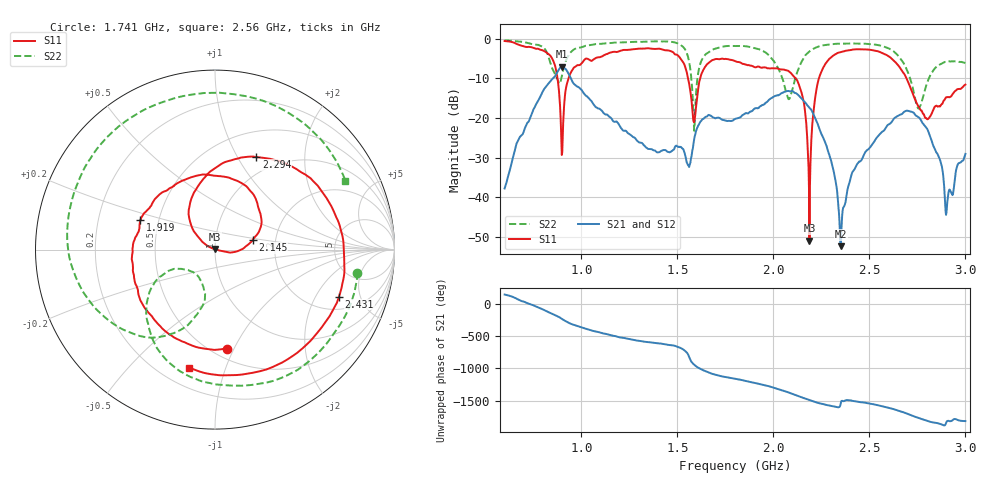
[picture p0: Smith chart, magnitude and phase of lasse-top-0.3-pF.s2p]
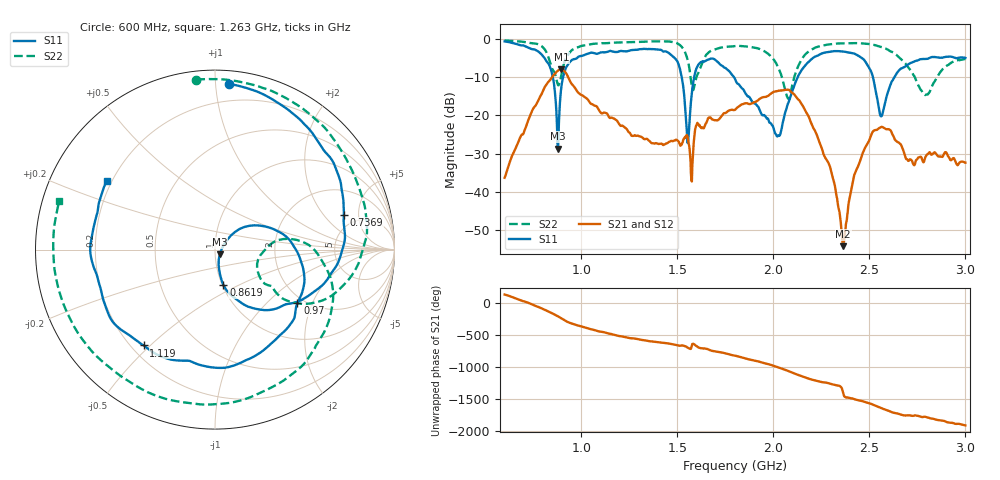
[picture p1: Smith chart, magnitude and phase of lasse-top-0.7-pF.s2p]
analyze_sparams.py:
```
from numpy import *
from matplotlib.pyplot import *
import aauplot

vnadir = "sparams/"
top = ["lasse-top-0.3-pF.s2p",
        "lasse-top-0.7-pF.s2p",
        "lasse-top-1.1-pF.s2p",
        "lasse-top-1.5-pF.s2p",
        "lasse-top-2.0-pF.s2p",
        "lasse-top-2.7-pF.s2p",
        "lasse-top-3.0-pF.s2p",
        ]

side = ["lasse-side-0.3-pF.s2p",
        "lasse-side-0.7-pF.s2p",
        "lasse-side-1.1-pF.s2p",
        "lasse-side-1.5-pF.s2p",
        "lasse-side-2.0-pF.s2p",
        "lasse-side-2.7-pF.s2p",
        "lasse-side-3.0-pF.s2p",
        ]

#S11
aauplot.figure()
for s in top:
    m = loadtxt(vnadir + s, skiprows=5).T
    f = m[0]
    S11 = m[1] + 1j*m[2]
    S21 = m[3] + 1j*m[4]
    S12 = m[5] + 1j*m[6]
    S22 = m[7] + 1j*m[8]

    aauplot.sparam(f, 20*log10(abs(S11)))

aauplot.end_sparam()
savefig("s11_csh1.pdf")

#S21
aauplot.figure()
for s in top:
    m = loadtxt(vnadir + s, skiprows=5).T
    f = m[0]
    S11 = m[1] + 1j*m[2]
    S21 = m[3] + 1j*m[4]
    S12 = m[5] + 1j*m[6]
    S22 = m[7] + 1j*m[8]

    aauplot.sparam(f, 20*log10(abs(S21)))

aauplot.end_sparam()
savefig("s21_csh1.pdf")

#S12
aauplot.figure()
for s in side:
    m = loadtxt(vnadir + s, skiprows=5).T
    f = m[0]
    S11 = m[1] + 1j*m[2]
    S21 = m[3] + 1j*m[4]
    S12 = m[5] + 1j*m[6]
    S22 = m[7] + 1j*m[8]

    aauplot.sparam(f, 20*log10(abs(S12)))

aauplot.end_sparam()
savefig("s12_csh1.pdf")

#S22
aauplot.figure()
for s in side:
    m = loadtxt(vnadir + s, skiprows=5).T
    f = m[0]
    S11 = m[1] + 1j*m[2]
    S21 = m[3] + 1j*m[4]
    S12 = m[5] + 1j*m[6]
    S22 = m[7] + 1j*m[8]

    aauplot.sparam(f, 20*log10(abs(S22)))

aauplot.end_sparam()
savefig("s22_csh2.pdf")
show()
```
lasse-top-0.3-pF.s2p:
#  HZ  S  RI  R  50.00
! Rohde & Schwarz ZVB8 2Ports - Version 2.81 - 1145.1010k08 SN: 100113
! Date: 2016-03-31 03:30:00
! Measurements: S11 S21 S12 S22
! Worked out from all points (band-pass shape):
!   1000 points, 600 MHz to 3 GHz, reference 50 ohm
!   highest |S21| = -7.00 dB at 900.3 MHz (marker M1); lowest = -52.4 dB at 2.351 GHz (marker M2)
!   |S21| within 3 dB of the highest: 851.3 MHz to 945.4 MHz (94.06 MHz wide, 10.5 % of centre)
!   lowest |S11| = -51.0 dB at 2.188 GHz (marker M3), VSWR 1.01, Z = 50 + j0.28 ohm
!   |S11| at or under -10 dB: 1.556 GHz to 1.618 GHz (62.66 MHz wide, 3.95 % of centre); 2.117 GHz to 2.237 GHz (120.2 MHz wide, 5.52 % of centre); 2.694 GHz to end of sweep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
!   |S22| runs from -23.2 to -0.4 dB; largest |S21 - S12| = 0.0018
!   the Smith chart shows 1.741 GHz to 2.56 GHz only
!   S11 on the Smith chart (normalised r, x): 1.741 GHz: 0.59, -0.94; 1.919 GHz: 0.39, +0.16; 2.145 GHz: 1.52, +0.17; 2.294 GHz: 0.79, +1.20; 2.431 GHz: 2.76, -3.19; 2.56 GHz: 0.31, -0.75
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6e8  0.0561 0.9378  -0.0114 0.00608  -0.0114 0.00595  -0.1053 0.9489
9.003003e8  0.0358 -0.00953  -0.2787 0.3492  -0.279 0.3488  0.3603 0.0292
1.741141e9  0.067 -0.5529  0.0611 -0.0715  0.061 -0.0715  0.7915 -0.1288
1.801201e9  -0.3146 -0.4175  0.0143 -0.0965  0.0142 -0.0965  0.6566 -0.4763
1.918919e9  -0.4165 0.164  -0.1224 -0.051  -0.1224 -0.0509  -0.026 -0.744
2.144745e9  0.2094 0.0536  0.1759 -0.0258  0.176 -0.0254  -0.2103 -0.4562
2.187988e9  0.000336 0.0028  0.0831 -0.1058  0.083 -0.1058  -0.5485 -0.4247
2.293694e9  0.2304 0.5156  -0.0251 -0.0207  -0.0251 -0.0208  -0.7706 0.3566
2.351351e9  0.6127 0.2996  -0.000271 -0.00238  -0.000241 -0.00236  -0.5089 0.707
2.430631e9  0.6904 -0.2623  0.0069 -0.0236  0.0069 -0.0237  0.0242 0.874
2.56036e9  -0.1471 -0.6569  -0.0533 -0.0369  -0.0532 -0.0369  0.7257 0.3819
3e9  -0.1339 0.2275  0.0328 -0.0126  0.0329 -0.0126  0.2316 -0.438
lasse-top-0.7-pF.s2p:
#  HZ  S  RI  R  50.00
! Rohde & Schwarz ZVB8 2Ports - Version 2.81 - 1145.1010k08 SN: 100113
! Date: 2016-03-31 03:39:33
! Measurements: S11 S21 S12 S22
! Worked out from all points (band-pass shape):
!   1000 points, 600 MHz to 3 GHz, reference 50 ohm
!   highest |S21| = -7.94 dB at 895.5 MHz (marker M1); lowest = -54.2 dB at 2.363 GHz (marker M2)
!   |S21| within 3 dB of the highest: 834 MHz to 939.2 MHz (105.2 MHz wide, 11.9 % of centre)
!   lowest |S11| = -28.7 dB at 876.3 MHz (marker M3), VSWR 1.08, Z = 52.6 - j2.71 ohm
!   |S11| at or under -10 dB: 1.522 GHz to 1.587 GHz (64.95 MHz wide, 4.18 % of centre); 1.795 GHz to 2.127 GHz (332 MHz wide, 16.9 % of centre); 2.518 GHz to 2.631 GHz (112.2 MHz wide, 4.36 % of centre)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
!   |S22| runs from -15.7 to -0.4 dB; largest |S21 - S12| = 0.0018
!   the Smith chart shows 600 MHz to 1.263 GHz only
!   S11 on the Smith chart (normalised r, x): 600 MHz: 0.08, +1.08; 736.9 MHz: 3.81, +3.30; 861.9 MHz: 1.01, -0.42; 970 MHz: 1.84, -1.56; 1.119 GHz: 0.25, -0.48; 1.263 GHz: 0.18, +0.28
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6e8  0.0766 0.9226  -0.0113 0.0102  -0.0113 0.0103  -0.1042 0.9474
7.369369e8  0.7175 0.1941  0.1041 -0.014  0.1038 -0.015  0.7692 0.4292
8.618619e8  0.0472 -0.1983  -0.3477 -0.0118  -0.3473 -0.0122  0.2924 -0.1972
8.762763e8  0.0264 -0.0257  -0.3548 0.1375  -0.3544 0.1372  0.2346 -0.103
8.954955e8  0.1931 0.1329  -0.2276 0.3299  -0.2281 0.3292  0.3312 0.0445
9.6997e8  0.4593 -0.2977  0.2036 0.088  0.2033 0.088  0.6163 -0.443
1.118919e9  -0.3974 -0.5342  -0.00692 -0.1084  -0.00731 -0.1084  -0.446 -0.7552
1.263063e9  -0.6015 0.3846  -0.0535 0.00678  -0.0534 0.00689  -0.867 0.2708
1.801201e9  -0.2315 -0.183  -0.022 -0.1166  -0.0221 -0.1166  0.6591 -0.4621
2.363363e9  0.63 0.2646  0.00154 0.00118  0.00153 0.00121  -0.4402 0.7559
3e9  -0.5108 0.2373  -0.00958 -0.022  -0.00957 -0.022  0.3224 -0.4416
